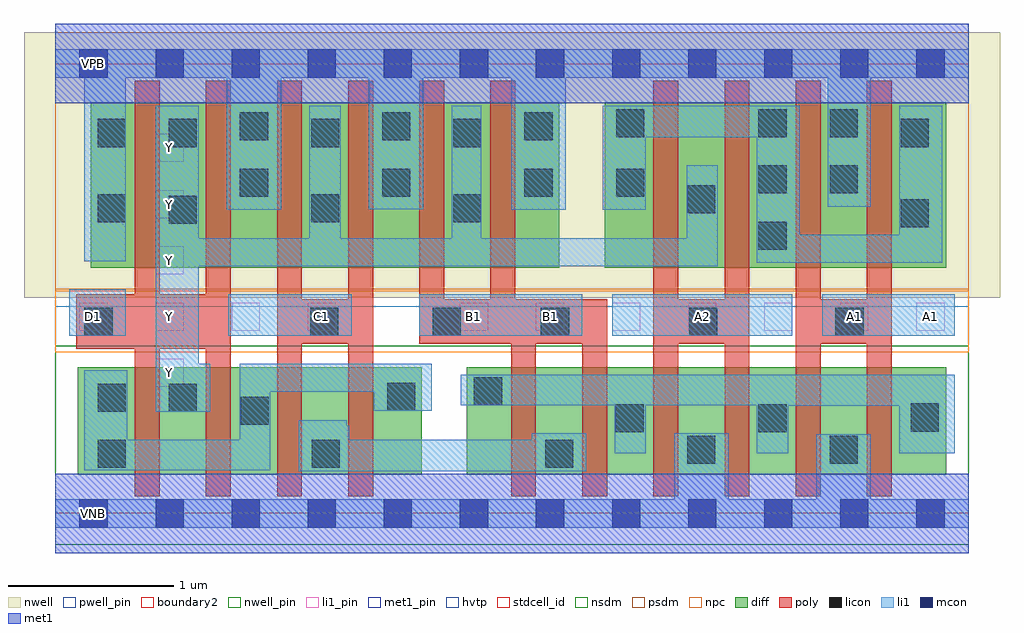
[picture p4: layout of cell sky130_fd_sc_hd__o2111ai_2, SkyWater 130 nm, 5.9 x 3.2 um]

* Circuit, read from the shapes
.subckt sky130_fd_sc_hd__o2111ai_2 A1 A2 B1 C1 D1 VGND VNB VPB VPWR Y
XM1 Y D1 n1 VNB sky130_fd_pr__nfet_01v8 w=0.65 l=0.15 m=2
XM2 n2 C1 n1 VNB sky130_fd_pr__nfet_01v8 w=0.65 l=0.15 m=2
XM3 n2 B1 n3 VNB sky130_fd_pr__nfet_01v8 w=0.65 l=0.15 m=2
XM4 VGND A2 n3 VNB sky130_fd_pr__nfet_01v8 w=0.65 l=0.15 m=2
XM5 VGND A1 n3 VNB sky130_fd_pr__nfet_01v8 w=0.65 l=0.15 m=2
XM6 Y D1 VPWR VPB sky130_fd_pr__pfet_01v8_hvt w=1 l=0.15 m=2
XM7 Y C1 VPWR VPB sky130_fd_pr__pfet_01v8_hvt w=1 l=0.15 m=2
XM8 Y B1 VPWR VPB sky130_fd_pr__pfet_01v8_hvt w=1 l=0.15 m=2
XM9 Y A2 n4 VPB sky130_fd_pr__pfet_01v8_hvt w=1 l=0.15 m=2
XM10 VPWR A1 n4 VPB sky130_fd_pr__pfet_01v8_hvt w=1 l=0.15 m=2
.ends

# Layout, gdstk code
import gdstk
lib = gdstk.Library(unit=1e-6, precision=1e-09)
def R(c, l, rs):  # rectangles x0, y0, x1, y1
    for r in rs: c.add(gdstk.rectangle(r[:2], r[2:], *l))
def A(c, l, x, y, w, h, nx, ny, dx, dy):  # array of equal rectangles
    R(c, l, [(x+i*dx, y+j*dy, x+i*dx+w, y+j*dy+h) for i in range(nx) for j in range(ny)])
def P(c, l, *ps):  # polygons
    for p in ps: c.add(gdstk.Polygon(p, *l))
nwell_pin = (64, 16)
nwell = (64, 20)
diff = (65, 20)
poly = (66, 20)
licon = (66, 44)
li1_pin = (67, 16)
li1 = (67, 20)
mcon = (67, 44)
met1_pin = (68, 16)
met1 = (68, 20)
hvtp = (78, 44)
stdcell_id = (81, 4)
nsdm = (93, 44)
psdm = (94, 20)
npc = (95, 20)
pwell_pin = (122, 16)
boundary2 = (236, 0)

sky130_fd_sc_hd__o2111ai = lib.new_cell('sky130_fd_sc_hd__o2111ai_2')
R(sky130_fd_sc_hd__o2111ai, nwell_pin, [(0.145,2.635,0.315,2.805)])
R(sky130_fd_sc_hd__o2111ai, nwell, [(-0.19,1.305,5.71,2.91)])
R(sky130_fd_sc_hd__o2111ai, diff, [(0.135,0.235,2.215,0.885), (2.485,0.235,5.385,0.885), (0.215,1.485,3.045,2.485), (3.32,1.485,5.385,2.485)])
P(sky130_fd_sc_hd__o2111ai, poly, [(1.06,2.615),(0.91,2.615),(0.91,1.325),(0.63,1.325),(0.63,2.615),(0.48,2.615),(0.48,1.325),(0.125,1.325),(0.125,0.995),(0.48,0.995),(0.48,0.105),(0.63,0.105),(0.63,0.995),(0.91,0.995),(0.91,0.105),(1.06,0.105)],
  [(1.92,2.615),(1.77,2.615),(1.77,1.295),(1.49,1.295),(1.49,2.615),(1.34,2.615),(1.34,0.105),(1.49,0.105),(1.49,1.025),(1.77,1.025),(1.77,0.105),(1.92,0.105)],
  [(3.335,1.295),(2.78,1.295),(2.78,2.615),(2.63,2.615),(2.63,1.295),(2.35,1.295),(2.35,2.615),(2.2,2.615),(2.2,1.025),(2.755,1.025),(2.755,0.105),(2.905,0.105),(2.905,1.025),(3.185,1.025),(3.185,0.105),(3.335,0.105)],
  [(4.195,2.615),(4.045,2.615),(4.045,1.295),(3.765,1.295),(3.765,2.615),(3.615,2.615),(3.615,0.105),(3.765,0.105),(3.765,1.025),(4.045,1.025),(4.045,0.105),(4.195,0.105)],
  [(5.055,2.615),(4.905,2.615),(4.905,1.295),(4.625,1.295),(4.625,2.615),(4.475,2.615),(4.475,0.105),(4.625,0.105),(4.625,1.025),(4.905,1.025),(4.905,0.105),(5.055,0.105)])
A(sky130_fd_sc_hd__o2111ai, licon, 4.25, 1.595, 0.17, 0.17, 1, 3, 0, 0.34)
A(sky130_fd_sc_hd__o2111ai, licon, 1.115, 1.915, 0.17, 0.17, 3, 2, 0.86, 0.34)
A(sky130_fd_sc_hd__o2111ai, licon, 0.685, 2.215, 0.17, 0.17, 3, 1, 0.86, 0)
R(sky130_fd_sc_hd__o2111ai, licon, [(0.255,0.275,0.425,0.445), (1.55,0.275,1.72,0.445), (2.96,0.275,3.13,0.445), (3.82,0.3,3.99,0.47), (4.68,0.3,4.85,0.47), (3.385,0.49,3.555,0.66), (4.25,0.49,4.42,0.66), (5.17,0.495,5.34,0.665), (1.12,0.535,1.29,0.705), (0.255,0.615,0.425,0.785), (0.685,0.615,0.855,0.785), (2.005,0.62,2.175,0.79), (2.53,0.655,2.7,0.825), (0.175,1.075,0.345,1.245), (1.54,1.075,1.71,1.245), (2.28,1.075,2.45,1.245), (2.935,1.075,3.105,1.245), (3.83,1.075,4,1.245), (4.715,1.075,4.885,1.245), (5.11,1.73,5.28,1.9), (0.685,1.75,0.855,1.92), (0.255,1.76,0.425,1.93), (1.545,1.76,1.715,1.93), (2.405,1.76,2.575,1.93), (3.82,1.815,3.99,1.985), (3.39,1.915,3.56,2.085), (4.68,1.935,4.85,2.105), (0.255,2.215,0.425,2.385), (5.11,2.215,5.28,2.385), (3.39,2.275,3.56,2.445), (4.68,2.275,4.85,2.445)])
A(sky130_fd_sc_hd__o2111ai, li1_pin, 0.145, 1.105, 0.17, 0.17, 4, 1, 0.46, 0)
A(sky130_fd_sc_hd__o2111ai, li1_pin, 2.445, 1.105, 0.17, 0.17, 7, 1, 0.46, 0)
A(sky130_fd_sc_hd__o2111ai, li1_pin, 0.605, 1.445, 0.17, 0.17, 1, 3, 0, 0.34)
R(sky130_fd_sc_hd__o2111ai, li1_pin, [(0.605,0.765,0.775,0.935)])
R(sky130_fd_sc_hd__o2111ai, li1, [(0.085,1.075,0.425,1.355), (1.045,1.075,1.79,1.325), (2.2,1.075,3.185,1.325), (3.365,1.075,4.455,1.325), (4.635,1.075,5.435,1.325)])
P(sky130_fd_sc_hd__o2111ai, li1, [(5.52,2.805),(0,2.805),(0,2.635),(0.175,2.635),(0.175,1.525),(0.425,1.525),(0.425,2.635),(1.035,2.635),(1.035,1.835),(1.365,1.835),(1.365,2.635),(1.895,2.635),(1.895,1.84),(2.225,1.84),(2.225,2.635),(2.755,2.635),(2.755,1.835),(3.085,1.835),(3.085,2.635),(4.67,2.635),(4.67,1.855),(4.93,1.855),(4.93,2.635),(5.52,2.635)],
  [(5.52,0.085),(4.93,0.085),(4.93,0.48),(4.6,0.48),(4.6,0.085),(4.07,0.085),(4.07,0.485),(3.74,0.485),(3.74,0.085),(0,0.085),(0,-0.085),(5.52,-0.085)],
  [(2.275,0.905),(1.115,0.905),(1.115,0.445),(0.435,0.445),(0.435,0.865),(0.175,0.865),(0.175,0.26),(1.3,0.26),(1.3,0.735),(1.925,0.735),(1.925,0.62),(2.275,0.62)],
  [(3.21,0.485),(2.88,0.485),(2.88,0.445),(1.775,0.445),(1.775,0.53),(1.76,0.53),(1.76,0.565),(1.47,0.565),(1.47,0.255),(3.21,0.255)],
  [(4.005,2.105),(3.815,2.105),(3.815,1.665),(2.575,1.665),(2.575,2.465),(2.395,2.465),(2.395,1.665),(1.725,1.665),(1.725,2.465),(1.535,2.465),(1.535,1.665),(0.865,1.665),(0.865,2.465),(0.605,2.465),(0.605,0.615),(0.935,0.615),(0.935,0.905),(0.865,0.905),(0.865,1.495),(4.005,1.495)],
  [(5.36,2.465),(5.1,2.465),(5.1,1.685),(4.5,1.685),(4.5,2.465),(3.31,2.465),(3.31,1.835),(3.57,1.835),(3.57,2.275),(4.24,2.275),(4.24,1.515),(5.36,1.515)],
  [(5.435,0.84),(2.45,0.84),(2.45,0.655),(3.38,0.655),(3.38,0.365),(3.57,0.365),(3.57,0.655),(4.24,0.655),(4.24,0.365),(4.43,0.365),(4.43,0.65),(5.1,0.65),(5.1,0.365),(5.435,0.365)])
A(sky130_fd_sc_hd__o2111ai, mcon, 0.145, -0.085, 0.17, 0.17, 12, 2, 0.46, 2.72)
R(sky130_fd_sc_hd__o2111ai, met1_pin, [(0.145,-0.085,0.315,0.085), (0.145,2.635,0.315,2.805)])
R(sky130_fd_sc_hd__o2111ai, hvtp, [(0,1.25,5.52,2.72)])
R(sky130_fd_sc_hd__o2111ai, stdcell_id, [(0,0,5.52,2.72)])
R(sky130_fd_sc_hd__o2111ai, nsdm, [(0,-0.19,5.52,1.015)])
R(sky130_fd_sc_hd__o2111ai, psdm, [(0,1.355,5.52,2.91)])
R(sky130_fd_sc_hd__o2111ai, npc, [(0,0.975,5.52,1.345)])
R(sky130_fd_sc_hd__o2111ai, pwell_pin, [(0.145,-0.085,0.315,0.085)])
R(sky130_fd_sc_hd__o2111ai, boundary2, [(0,0,5.52,2.72)])
sky130_fd_sc_hd__o2111ai.add(gdstk.FlexPath([(0,2.72),(5.52,2.72)], 0.48, ends="flush", simple_path=True, layer=68, datatype=20))  # met1
sky130_fd_sc_hd__o2111ai.add(gdstk.FlexPath([(0,0),(5.52,0)], 0.48, ends="flush", simple_path=True, layer=68, datatype=20))  # met1
sky130_fd_sc_hd__o2111ai.add(gdstk.Label('A1', (5.29,1.19), layer=67, texttype=5))
sky130_fd_sc_hd__o2111ai.add(gdstk.Label('A1', (4.83,1.19), layer=67, texttype=5))
sky130_fd_sc_hd__o2111ai.add(gdstk.Label('A2', (3.91,1.19), layer=67, texttype=5))
sky130_fd_sc_hd__o2111ai.add(gdstk.Label('B1', (2.99,1.19), layer=67, texttype=5))
sky130_fd_sc_hd__o2111ai.add(gdstk.Label('B1', (2.53,1.19), layer=67, texttype=5))
sky130_fd_sc_hd__o2111ai.add(gdstk.Label('C1', (1.61,1.19), layer=67, texttype=5))
sky130_fd_sc_hd__o2111ai.add(gdstk.Label('D1', (0.23,1.19), layer=67, texttype=5))
sky130_fd_sc_hd__o2111ai.add(gdstk.Label('Y', (0.69,1.53), layer=67, texttype=5))
sky130_fd_sc_hd__o2111ai.add(gdstk.Label('Y', (0.69,1.19), layer=67, texttype=5))
sky130_fd_sc_hd__o2111ai.add(gdstk.Label('Y', (0.69,0.85), layer=67, texttype=5))
sky130_fd_sc_hd__o2111ai.add(gdstk.Label('Y', (0.69,2.21), layer=67, texttype=5))
sky130_fd_sc_hd__o2111ai.add(gdstk.Label('Y', (0.69,1.87), layer=67, texttype=5))
sky130_fd_sc_hd__o2111ai.add(gdstk.Label('VNB', (0.23,0), layer=64, texttype=59))
sky130_fd_sc_hd__o2111ai.add(gdstk.Label('VPB', (0.23,2.72), layer=64, texttype=5))
sky130_fd_sc_hd__o2111ai.add(gdstk.Label('VPWR', (0.23,2.72), layer=68, texttype=5))
sky130_fd_sc_hd__o2111ai.add(gdstk.Label('VGND', (0.23,0), layer=68, texttype=5))
sky130_fd_sc_hd__o2111ai.add(gdstk.Label('o2111ai_2', (0,0), layer=83, texttype=44))

lib.write_gds('sky130_fd_sc_hd__o2111ai_2.gds')
